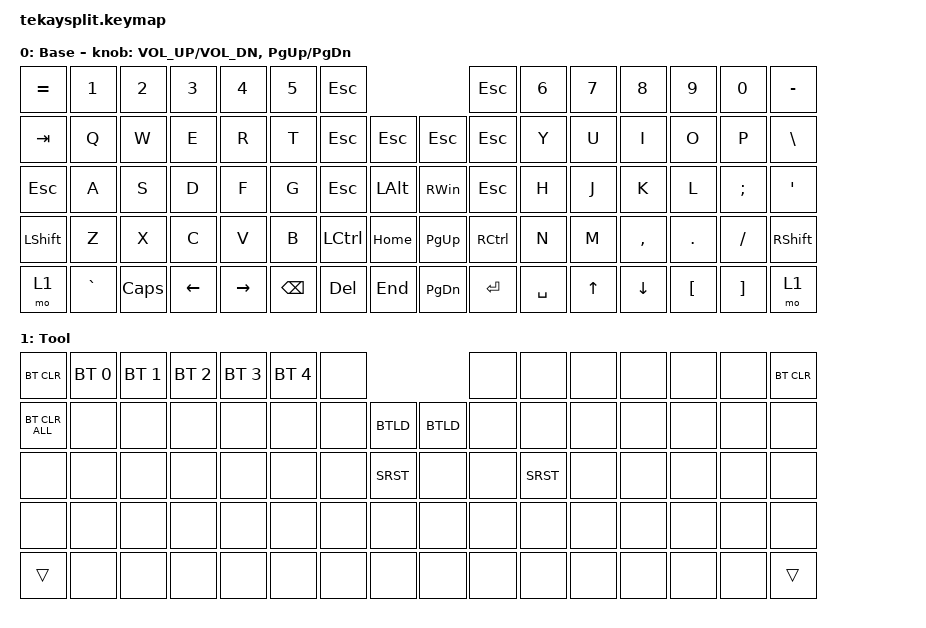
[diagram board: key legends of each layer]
#include <behaviors.dtsi>
#include <dt-bindings/zmk/keys.h>
#include <dt-bindings/zmk/bt.h>
#include <dt-bindings/zmk/ext_power.h>
#include <dt-bindings/zmk/pointing.h>

#define BTLD bootloader
#define SRST sys_reset

/ {
    sensors: sensors {
        compatible = "zmk,keymap-sensors";
        sensors = <&left_encoder &right_encoder>;
        triggers-per-rotation = <20>;
    };


    keymap {
        compatible = "zmk,keymap";
        
        default_layer {
            display-name = "Base";
            bindings = <
                &kp EQUAL &kp N1    &kp N2    &kp N3    &kp N4    &kp N5    &kp ESC                       &kp ESC   &kp N6    &kp N7    &kp N8    &kp N9    &kp N0    &kp MINUS
                &kp TAB   &kp Q     &kp W     &kp E     &kp R     &kp T     &kp ESC   &kp ESC   &kp ESC   &kp ESC   &kp Y     &kp U     &kp I     &kp O     &kp P     &kp BSLH
                &kp ESC   &kp A     &kp S     &kp D     &kp F     &kp G     &kp ESC   &kp LALT  &kp RWIN  &kp ESC   &kp H     &kp J     &kp K     &kp L     &kp SEMI  &kp SQT
                &kp LSHFT &kp Z     &kp X     &kp C     &kp V     &kp B     &kp LCTRL &kp HOME  &kp PG_UP &kp RCTRL &kp N     &kp M     &kp COMMA &kp DOT   &kp SLASH &kp RSHFT
                &mo 1     &kp GRAVE &kp CAPS  &kp LEFT  &kp RIGHT &kp BSPC  &kp DEL   &kp END   &kp PG_DN &kp ENTER &kp SPACE &kp UP    &kp DOWN  &kp LBKT  &kp RBKT  &mo 1
            >;
            sensor-bindings = <&inc_dec_kp C_VOL_UP C_VOL_DN &inc_dec_kp PG_UP PG_DN>;
        };
        
        tool_layer {
            display-name = "Tool";
            // bindings = <
            //     &kp EQUAL &kp N1    &kp N2    &kp N3    &kp N4    &kp N5    &kp ESC                       &kp ESC   &kp N6    &kp N7    &kp N8    &kp N9    &kp N0    &kp MINUS
            //     &kp TAB   &kp Q     &kp W     &kp E     &kp R     &kp T     &kp ESC   &kp ESC   &kp ESC   &kp ESC   &kp Y     &kp U     &kp I     &kp O     &kp P     &kp BSLH
            //     &kp ESC   &kp A     &kp S     &kp D     &kp F     &kp G     &kp ESC   &kp LALT  &kp RWIN  &kp ESC   &kp H     &kp J     &kp K     &kp L     &kp SEMI  &kp SQT
            //     &kp CAPS  &kp Z     &kp X     &kp C     &kp V     &kp B     &kp LCTRL &kp HOME  &kp PG_UP &kp RCTRL &kp N     &kp M     &kp COMMA &kp DOT   &kp SLASH &kp RSHFT
            //     &mo 1     &kp GRAVE &kp NUBS  &kp LEFT  &kp RIGHT &kp BSPC  &kp DEL   &kp END   &kp PG_DN &kp ENTER &kp SPACE &kp UP    &kp DOWN  &kp LBKT  &kp RBKT  &kp ESC
            // >;


            bindings = <
                &bt BT_CLR &bt BT_SEL 0 &bt BT_SEL 1 &bt BT_SEL 2 &bt BT_SEL 3 &bt BT_SEL 4     &none                         &none     &none     &none     &none     &none     &none     &bt BT_CLR 
                &bt BT_CLR_ALL     &none        &none        &none        &none        &none     &none     &BTLD     &BTLD     &none     &none     &none     &none     &none     &none     &none
                &none     &none        &none        &none        &none        &none     &none     &SRST     &none     &none     &SRST     &none     &none     &none     &none     &none
                &none     &none        &none        &none        &none        &none     &none     &none     &none     &none     &none     &none     &none     &none     &none     &none
                &trans    &none        &none        &none        &none        &none     &none     &none     &none     &none     &none     &none     &none     &none     &none     &trans
            >;
        };
    };
};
